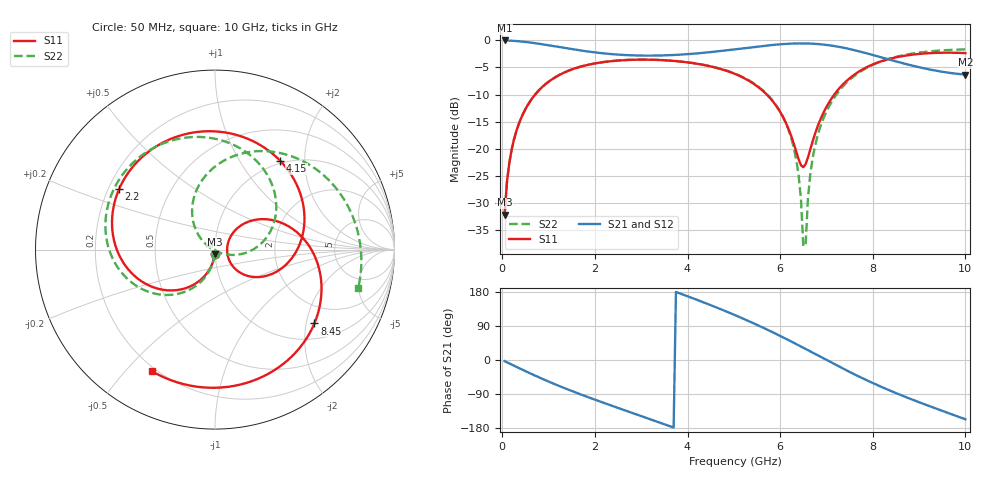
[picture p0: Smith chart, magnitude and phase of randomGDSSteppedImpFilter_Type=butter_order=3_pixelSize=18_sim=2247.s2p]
! freq	dB(S11)	phase(S11)	dB(S12)	phase(S12)
!  dB(S21)	phase(S21)	dB(S22)	phase(S22)
!S-par simulation data
#  GHz  S  DB  R 50
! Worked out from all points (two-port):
!   200 points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, 50 MHz to 10 GHz, reference 50 ohm
!   highest |S21| = -0.01 dB at 50 MHz (marker M1); lowest = -6.3 dB at 10 GHz (marker M2)
!   |S21| within 3 dB of the highest: start of sweep to 8.134 GHz
!   lowest |S11| = -32.2 dB at 50 MHz (marker M3), VSWR 1.05, Z = 49.8 - j2.44 ohm
!   |S11| at or under -10 dB: start of sweep to 710.1 MHz; 5.71 GHz to 7.17 GHz (1.46 GHz wide, 22.7 % of centre)
!   |S22| runs from -38.0 to -1.7 dB; largest |S21 - S12| = 0
!   S11 on the Smith chart (normalised r, x): 50 MHz: 1.00, -0.05; 2.2 GHz: 0.24, +0.27; 4.15 GHz: 0.96, +1.52; 8.45 GHz: 1.42, -2.23; 10 GHz: 0.18, -0.60
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0.05  -32.20 -93.2  -0.01 -3.0  -0.01 -3.0  -32.20 -92.9
0.2  -20.27 -103.2  -0.06 -12.0  -0.06 -12.0  -20.27 -101.7
0.5  -12.69 -121.8  -0.28 -29.5  -0.28 -29.5  -12.68 -118.2
1.1  -7.04 -156.5  -1.04 -62.1  -1.04 -62.1  -7.03 -148.7
1.75  -4.71 169.6  -1.93 -93.4  -1.93 -93.4  -4.70 -177.6
2.2  -3.99 147.6  -2.40 -113.5  -2.40 -113.5  -3.97 164.2
3.4  -3.62 90.7  -2.79 -165.1  -2.79 -165.1  -3.61 118.5
4.15  -4.24 53.8  -2.44 161.3  -2.44 161.3  -4.22 89.1
5.05  -6.28 6.9  -1.62 117.1  -1.62 117.1  -6.23 50.2
5.65  -9.50 -24.9  -1.00 84.3  -1.00 84.3  -9.41 20.5
6.15  -15.74 -43.6  -0.63 54.4  -0.63 54.4  -15.83 -7.6
6.4  -21.99 -26.4  -0.55 38.7  -0.55 38.7  -25.01 -25.5
6.5  -23.43 1.3  -0.55 32.4  -0.55 32.4  -38.02 -55.0
6.55  -22.86 16.4  -0.56 29.1  -0.56 29.1  -37.83 -179.8
6.6  -21.63 28.1  -0.57 25.9  -0.57 25.9  -29.17 156.3
6.7  -18.70 40.5  -0.60 19.5  -0.60 19.5  -21.84 145.3
7.25  -9.12 28.5  -1.16 -15.9  -1.16 -15.9  -9.59 109.4
7.8  -5.26 -1.7  -2.23 -49.4  -2.23 -49.4  -5.40 77.7
8.35  -3.43 -31.4  -3.52 -79.6  -3.52 -79.6  -3.39 49.6
8.45  -3.22 -36.6  -3.76 -84.7  -3.76 -84.7  -3.15 44.9
9.25  -2.34 -77.2  -5.41 -122.9  -5.41 -122.9  -2.01 11.3
10  -2.34 -117.2  -6.32 -156.5  -6.32 -156.5  -1.66 -14.9
